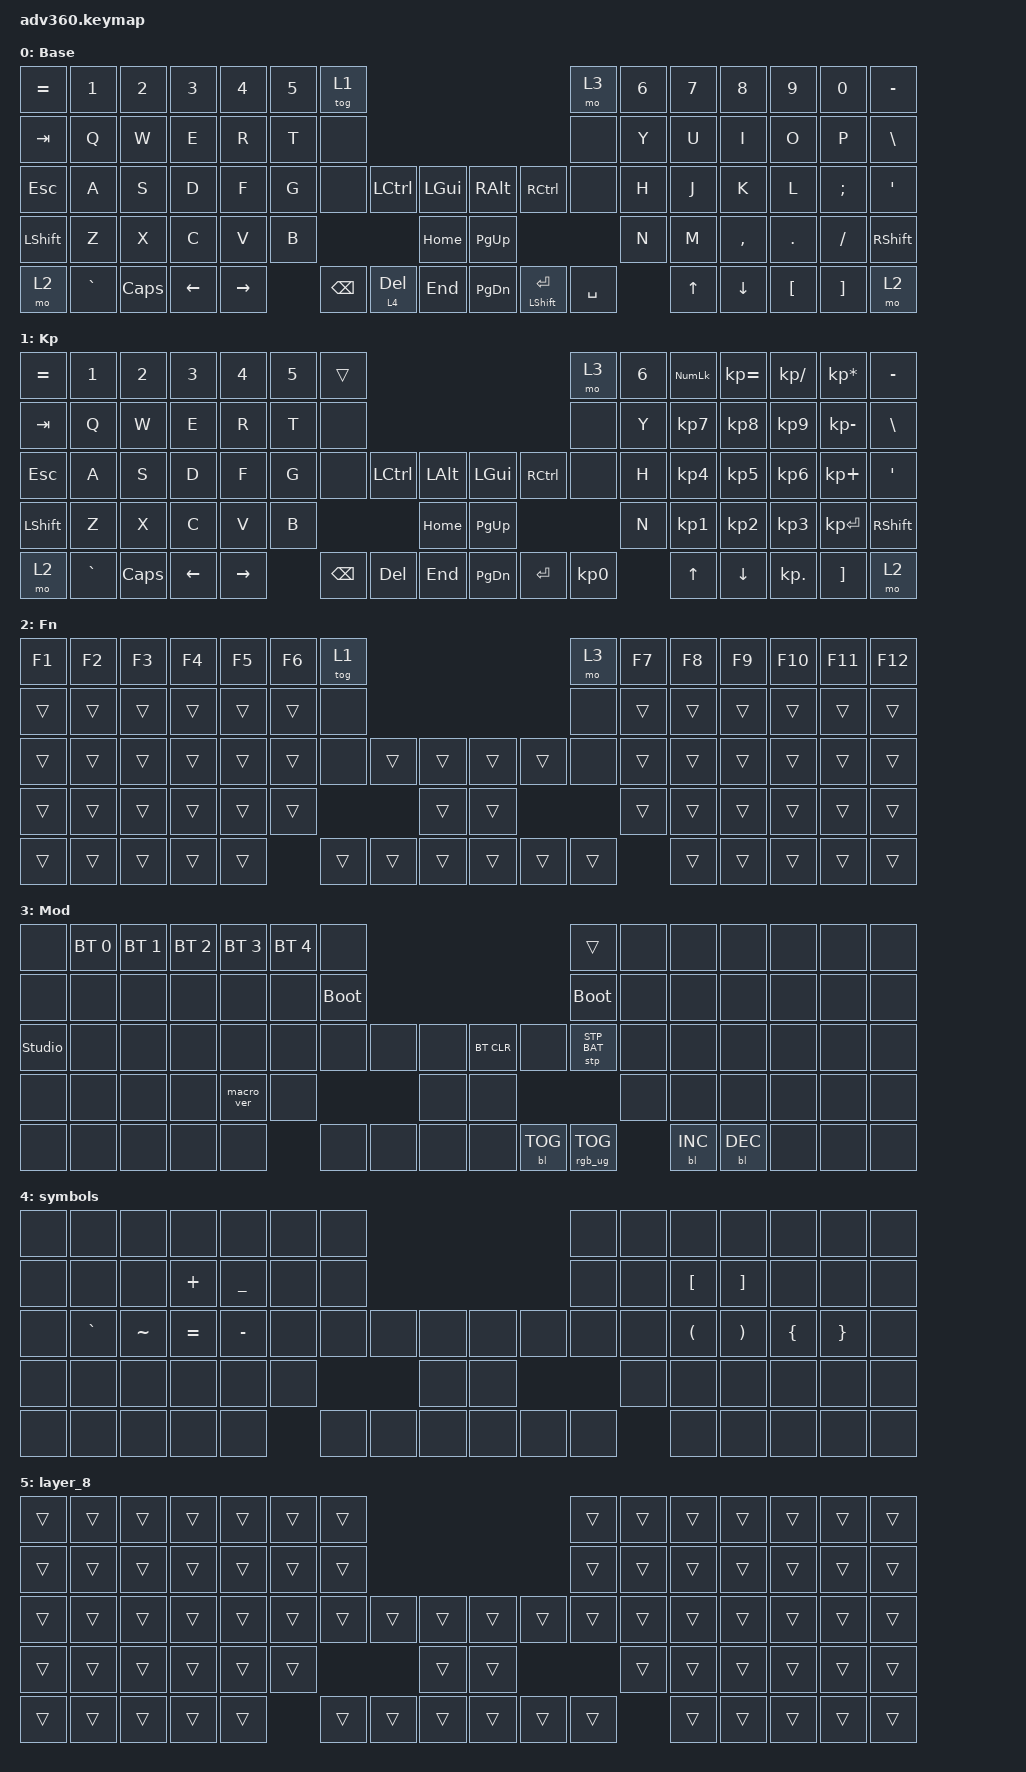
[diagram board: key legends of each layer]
#include <dt-bindings/zmk/stp.h>
#include <behaviors.dtsi>
#include <dt-bindings/zmk/backlight.h>
#include <dt-bindings/zmk/bt.h>
#include <dt-bindings/zmk/keys.h>
#include <dt-bindings/zmk/rgb.h>

/ {
    behaviors {
        #include "macros.dtsi"
      #include "version.dtsi"

        hm: homerow_mods {
            compatible = "zmk,behavior-hold-tap";
            label = "HOMEROW_MODS";
            #binding-cells = <2>;
            tapping-term-ms = <200>;
            quick_tap_ms = <175>;
            flavor = "tap-preferred";
            bindings = <&kp>, <&kp>;
        };

        ls: layer_switch {
            compatible = "zmk,behavior-hold-tap";
            label = "LAYER_SWITCH";
            bindings = <&mo>, <&kp>;

            #binding-cells = <2>;
            tapping-term-ms = <200>;
            flavor = "tap-preferred";
            quick-tap-ms = <175>;
        };
    };

    keymap {
        compatible = "zmk,keymap";

        default_layer {
            display-name = "Base";
            bindings = <
&kp EQUAL  &kp N1     &kp N2    &kp N3    &kp N4     &kp N5  &tog 1                                                                   &mo 3      &kp N6  &kp N7  &kp N8     &kp N9    &kp N0         &kp MINUS
&kp TAB    &kp Q      &kp W     &kp E     &kp R      &kp T   &none                                                                    &none      &kp Y   &kp U   &kp I      &kp O     &kp P          &kp BSLH
&kp ESC    &kp A      &kp S     &kp D     &kp F      &kp G   &none          &kp LCTRL  &kp LGUI      &kp RALT   &kp RCTRL             &none      &kp H   &kp J   &kp K      &kp L     &kp SEMICOLON  &kp SQT
&kp LSHFT  &kp Z      &kp X     &kp C     &kp V      &kp B                             &kp HOME      &kp PG_UP                                   &kp N   &kp M   &kp COMMA  &kp DOT   &kp FSLH       &kp RSHFT
&mo 2      &kp GRAVE  &kp CAPS  &kp LEFT  &kp RIGHT          &kp BACKSPACE  &ls 4 DEL  &kp END       &kp PG_DN  &hm LEFT_SHIFT ENTER  &kp SPACE          &kp UP  &kp DOWN   &kp LBKT  &kp RBKT       &mo 2
            >;
        };

        keypad {
            display-name = "Kp";
            bindings = <
&kp EQUAL  &kp N1     &kp N2    &kp N3    &kp N4     &kp N5  &trans                                                   &mo 3      &kp N6  &kp KP_NUM  &kp KP_EQUAL  &kp KP_DIVIDE  &kp KP_MULTIPLY  &kp MINUS
&kp TAB    &kp Q      &kp W     &kp E     &kp R      &kp T   &none                                                    &none      &kp Y   &kp KP_N7   &kp KP_N8     &kp KP_N9      &kp KP_MINUS     &kp BSLH
&kp ESC    &kp A      &kp S     &kp D     &kp F      &kp G   &none     &kp LCTRL  &kp LALT      &kp LGUI   &kp RCTRL  &none      &kp H   &kp KP_N4   &kp KP_N5     &kp KP_N6      &kp KP_PLUS      &kp SQT
&kp LSHFT  &kp Z      &kp X     &kp C     &kp V      &kp B                        &kp HOME      &kp PG_UP                        &kp N   &kp KP_N1   &kp KP_N2     &kp KP_N3      &kp KP_ENTER     &kp RSHFT
&mo 2      &kp GRAVE  &kp CAPS  &kp LEFT  &kp RIGHT          &kp BSPC  &kp DEL    &kp END       &kp PG_DN  &kp ENTER  &kp KP_N0          &kp UP      &kp DOWN      &kp KP_DOT     &kp RBKT         &mo 2
            >;
        };

        fn {
            display-name = "Fn";
            bindings = <
&kp F1  &kp F2  &kp F3  &kp F4  &kp F5  &kp F6  &tog 1                                      &mo 3   &kp F7  &kp F8  &kp F9  &kp F10  &kp F11  &kp F12
&trans  &trans  &trans  &trans  &trans  &trans  &none                                       &none   &trans  &trans  &trans  &trans   &trans   &trans
&trans  &trans  &trans  &trans  &trans  &trans  &none   &trans  &trans      &trans  &trans  &none   &trans  &trans  &trans  &trans   &trans   &trans
&trans  &trans  &trans  &trans  &trans  &trans                  &trans      &trans                  &trans  &trans  &trans  &trans   &trans   &trans
&trans  &trans  &trans  &trans  &trans          &trans  &trans  &trans      &trans  &trans  &trans          &trans  &trans  &trans   &trans   &trans
            >;
        };

        mod {
            display-name = "Mod";
            bindings = <
&none           &bt BT_SEL 0  &bt BT_SEL 1  &bt BT_SEL 2  &bt BT_SEL 3  &bt BT_SEL 4  &none                                                  &trans           &none  &none       &none       &none  &none  &none
&none           &none         &none         &none         &none         &none         &bootloader                                            &bootloader      &none  &none       &none       &none  &none  &none
&studio_unlock  &none         &none         &none         &none         &none         &none        &none  &none      &bt BT_CLR  &none       &stp STP_BAT     &none  &none       &none       &none  &none  &none
&none           &none         &none         &none         &macro_ver    &none                             &none      &none                                    &none  &none       &none       &none  &none  &none
&none           &none         &none         &none         &none                       &none        &none  &none      &none       &bl BL_TOG  &rgb_ug RGB_TOG         &bl BL_INC  &bl BL_DEC  &none  &none  &none
            >;
        };

        symbols {
            bindings = <
&none  &none      &none      &none      &none           &none  &none                                  &none  &none  &none                 &none                  &none           &none            &none
&none  &none      &none      &kp PLUS   &kp UNDERSCORE  &none  &none                                  &none  &none  &kp LEFT_BRACKET      &kp RIGHT_BRACKET      &none           &none            &none
&none  &kp GRAVE  &kp TILDE  &kp EQUAL  &kp MINUS       &none  &none  &none  &none      &none  &none  &none  &none  &kp LEFT_PARENTHESIS  &kp RIGHT_PARENTHESIS  &kp LEFT_BRACE  &kp RIGHT_BRACE  &none
&none  &none      &none      &none      &none           &none                &none      &none                &none  &none                 &none                  &none           &none            &none
&none  &none      &none      &none      &none                  &none  &none  &none      &none  &none  &none         &none                 &none                  &none           &none            &none
            >;
        };

        extra1 {
            display-name = "Red";
            status = "reserved";
        };

        extra2 {
            display-name = "Purple";
            status = "reserved";
        };

        extra3 {
            display-name = "Cyan";
            status = "reserved";
        };

        extra4 {
            display-name = "Yellow";
            status = "reserved";
        };

        layer_8 {
            bindings = <
&trans  &trans  &trans  &trans  &trans  &trans  &trans                                      &trans  &trans  &trans  &trans  &trans  &trans  &trans
&trans  &trans  &trans  &trans  &trans  &trans  &trans                                      &trans  &trans  &trans  &trans  &trans  &trans  &trans
&trans  &trans  &trans  &trans  &trans  &trans  &trans  &trans  &trans      &trans  &trans  &trans  &trans  &trans  &trans  &trans  &trans  &trans
&trans  &trans  &trans  &trans  &trans  &trans                  &trans      &trans                  &trans  &trans  &trans  &trans  &trans  &trans
&trans  &trans  &trans  &trans  &trans          &trans  &trans  &trans      &trans  &trans  &trans          &trans  &trans  &trans  &trans  &trans
            >;
        };
    };
};
